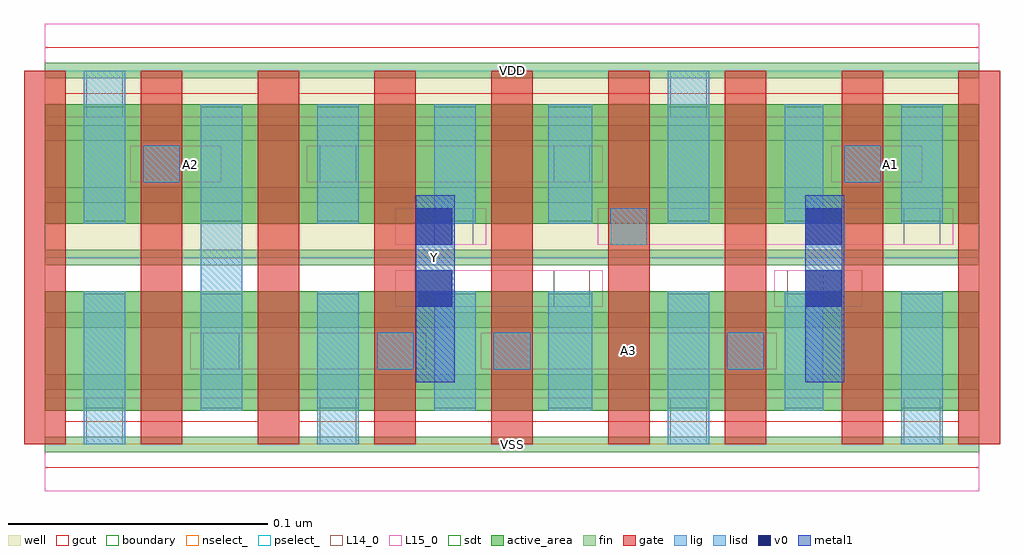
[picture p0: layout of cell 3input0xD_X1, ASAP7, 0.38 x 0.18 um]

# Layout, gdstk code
import gdstk
lib = gdstk.Library(unit=1e-6, precision=1e-09)
def R(c, l, rs):  # rectangles x0, y0, x1, y1
    for r in rs: c.add(gdstk.rectangle(r[:2], r[2:], *l))
def A(c, l, x, y, w, h, nx, ny, dx, dy):  # array of equal rectangles
    R(c, l, [(x+i*dx, y+j*dy, x+i*dx+w, y+j*dy+h) for i in range(nx) for j in range(ny)])
def P(c, l, *ps):  # polygons
    for p in ps: c.add(gdstk.Polygon(p, *l))
well = (1, 0)
fin = (2, 0)
gate = (7, 0)
gcut = (10, 0)
active_area = (11, 0)
nselect_ = (12, 0)
pselect_ = (13, 0)
L14_0 = (14, 0)
L15_0 = (15, 0)
lig = (16, 0)
lisd = (17, 0)
v0 = (18, 0)
metal1 = (19, 0)
sdt = (88, 0)
boundary = (100, 0)

c_3input0xd_x1 = lib.new_cell('3input0xD_X1')
R(c_3input0xd_x1, well, [(0,0.072,0.36,0.144)])
A(c_3input0xd_x1, fin, 0, -0.003, 0.36, 0.006, 1, 7, 0, 0.024)
A(c_3input0xd_x1, gate, -0.008, 0, 0.016, 0.144, 9, 1, 0.045, 0)
P(c_3input0xd_x1, gcut, [(0,-0.009),(0,0),(-0.008,0),(-0.008,0.135),(0.008,0.135),(0.008,0.009),(0.082,0.009),(0.082,0.135),(0.098,0.135),(0.098,0.009),(0.352,0.009),(0.352,0.135),(-0.008,0.135),(-0.008,0.144),(0,0.144),(0,0.153),(0.36,0.153),(0.36,0.144),(0.368,0.144),(0.368,0),(0.36,0),(0.36,-0.009)])
R(c_3input0xd_x1, active_area, [(0,0.013,0.36,0.059), (0,0.085,0.36,0.131)])
R(c_3input0xd_x1, nselect_, [(0,0,0.36,0.072)])
R(c_3input0xd_x1, pselect_, [(0,0.072,0.36,0.144)])
R(c_3input0xd_x1, L14_0, [(0.016,0,0.03,0.018), (0.106,0,0.12,0.018), (0.241,0,0.255,0.018), (0.331,0,0.345,0.018), (0.061,0.029,0.075,0.043), (0.128,0.029,0.142,0.043), (0.173,0.029,0.187,0.043), (0.263,0.029,0.277,0.043), (0.196,0.053,0.21,0.067), (0.286,0.053,0.3,0.067), (0.15,0.077,0.165,0.091), (0.218,0.077,0.232,0.091), (0.331,0.077,0.345,0.091), (0.038,0.101,0.052,0.115), (0.106,0.101,0.12,0.115), (0.196,0.101,0.21,0.115), (0.308,0.101,0.322,0.115), (0.016,0.126,0.03,0.144), (0.241,0.126,0.255,0.144)])
R(c_3input0xd_x1, L15_0, [(0,-0.018,0.36,0.018), (0.056,0.029,0.147,0.043), (0.168,0.029,0.282,0.043), (0.135,0.053,0.215,0.067), (0.281,0.053,0.315,0.067), (0.135,0.077,0.17,0.091), (0.213,0.077,0.35,0.091), (0.033,0.101,0.068,0.115), (0.101,0.101,0.215,0.115), (0.303,0.101,0.338,0.115), (0,0.126,0.36,0.162)])
R(c_3input0xd_x1, lig, [(0.128,0.029,0.142,0.043), (0.173,0.029,0.187,0.043), (0.263,0.029,0.277,0.043), (0.218,0.077,0.232,0.091), (0.038,0.101,0.052,0.115), (0.308,0.101,0.322,0.115)])
R(c_3input0xd_x1, lisd, [(0.015,0,0.031,0.059), (0.105,0,0.121,0.059), (0.24,0,0.256,0.059), (0.33,0,0.346,0.059), (0.06,0.013,0.076,0.131), (0.15,0.013,0.166,0.059), (0.194,0.013,0.211,0.059), (0.285,0.013,0.3,0.059), (0.015,0.085,0.031,0.144), (0.105,0.085,0.121,0.131), (0.15,0.085,0.166,0.131), (0.194,0.085,0.211,0.131), (0.24,0.085,0.256,0.144), (0.285,0.085,0.3,0.131), (0.33,0.085,0.346,0.131)])
R(c_3input0xd_x1, v0, [(0.143,0.053,0.157,0.067), (0.293,0.053,0.307,0.067), (0.143,0.077,0.157,0.091), (0.293,0.077,0.307,0.091)])
R(c_3input0xd_x1, metal1, [(0.143,0.024,0.158,0.096), (0.293,0.024,0.308,0.096)])
A(c_3input0xd_x1, sdt, 0.015, 0.014, 0.016, 0.044, 4, 2, 0.045, 0.072)
R(c_3input0xd_x1, sdt, [(0.194,0.014,0.211,0.058), (0.24,0.014,0.256,0.058), (0.285,0.014,0.3,0.058), (0.33,0.014,0.346,0.058), (0.194,0.086,0.211,0.13), (0.24,0.086,0.256,0.13), (0.285,0.086,0.3,0.13), (0.33,0.086,0.346,0.13)])
R(c_3input0xd_x1, boundary, [(0,0,0.36,0.144)])
c_3input0xd_x1.add(gdstk.Label('A3', (0.225,0.036), layer=15, texttype=251))
c_3input0xd_x1.add(gdstk.Label('VSS', (0.18,0), layer=15, texttype=251))
c_3input0xd_x1.add(gdstk.Label('VDD', (0.18,0.144), layer=15, texttype=251))
c_3input0xd_x1.add(gdstk.Label('VSS', (0.18,0), layer=15, texttype=251))
c_3input0xd_x1.add(gdstk.Label('VDD', (0.18,0.144), layer=15, texttype=251))
c_3input0xd_x1.add(gdstk.Label('A2', (0.056,0.108), layer=15, texttype=251))
c_3input0xd_x1.add(gdstk.Label('VSS', (0.18,0), layer=15, texttype=251))
c_3input0xd_x1.add(gdstk.Label('VDD', (0.18,0.144), layer=15, texttype=251))
c_3input0xd_x1.add(gdstk.Label('A1', (0.326,0.108), layer=15, texttype=251))
c_3input0xd_x1.add(gdstk.Label('VSS', (0.18,0), layer=15, texttype=251))
c_3input0xd_x1.add(gdstk.Label('VDD', (0.18,0.144), layer=15, texttype=251))
c_3input0xd_x1.add(gdstk.Label('VSS', (0.18,0), layer=3, texttype=251))
c_3input0xd_x1.add(gdstk.Label('VSS', (0.18,0), layer=3, texttype=251))
c_3input0xd_x1.add(gdstk.Label('VSS', (0.18,0), layer=3, texttype=251))
c_3input0xd_x1.add(gdstk.Label('VSS', (0.18,0), layer=3, texttype=251))
c_3input0xd_x1.add(gdstk.Label('VDD', (0.18,0.144), layer=1, texttype=251))
c_3input0xd_x1.add(gdstk.Label('VDD', (0.18,0.144), layer=1, texttype=251))
c_3input0xd_x1.add(gdstk.Label('VDD', (0.18,0.144), layer=1, texttype=251))
c_3input0xd_x1.add(gdstk.Label('VDD', (0.18,0.144), layer=1, texttype=251))
c_3input0xd_x1.add(gdstk.Label('Y', (0.15,0.072), layer=19, texttype=251))

lib.write_gds('3input0xD_X1.gds')
